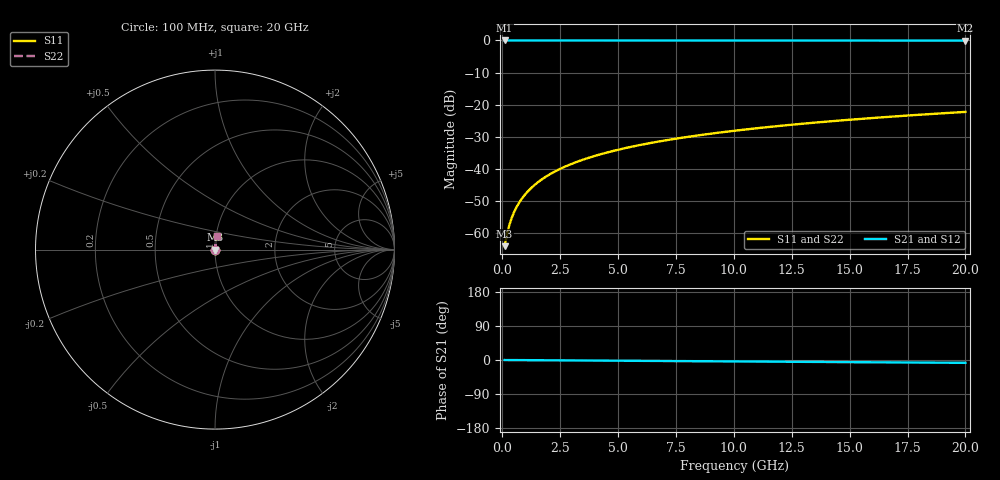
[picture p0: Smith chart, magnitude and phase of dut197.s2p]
! Touchstone file exported from HFSS 2026.1.0
!  File:  C:/ffzhzh/LocalFiles/Ansys_Project_Files/temp_train_TSV_197_1782991653_6248.aedt
!  Generated:  07:29:25 PM Jul  2, 2026
!  Design:  TSV
!  Project:  temp_train_TSV_197_1782991653_6248
! Variables:
!  h_bsmrdl = 2um
!  h_ox = 20um
!  h_rdl = 5um
!  h_sub = 54.53um
!  h_tmrdl = 5um
!  h_tsv = 54.53um
!  h_via = 3um
!  l_bsmrdl = 300um
!  l_sub = 407.5um
!  l_tmrdl = 200um
!  m_sub = 200um
!  pitch = 43.34um
!  r_tsv = 3.75um
!  s_tmrdl = 10um
!  w_bsmrdl = 18um
!  w_sub = 500um
!  w_tmrdl = 12um
!  x_tsv_center1 = 206um
!  x_tsv_center2 = 524um
!  x_tsv_center3 = 736um
!  x_tsv_center4 = 1054um
!  x_tsv_center5 = 1266um
!  x_tsv_center6 = 1584um
# GHz S MA R 50.000000
! Terminal data exported
! Port[1] = TSV1_1_T1
! Port[2] = TSV1_1_T2
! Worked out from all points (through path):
!   200 points, 100 MHz to 20 GHz, reference 50 ohm
!   highest |S21| = 0.00 dB at 100 MHz (marker M1); lowest = 0.0 dB at 20 GHz (marker M2)
!   group delay of S21, straight-line fit = 1.04 ps
!   lowest |S11| = -63.9 dB at 100 MHz (marker M3), VSWR 1.00, Z = 50 + j0.0418 ohm
!   |S11| at or under -10 dB: start of sweep to end of sweep
!   |S22| runs from -63.9 to -22.2 dB; largest |S21 - S12| = 3.4e-15
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0.1  0.0006347 41.1  0.9995 -0.0  0.9995 -0.0  0.0006347 41.1
! Gamma 0 0 0 0
! Port Impedance 50 0 50 0
0.2  0.0009628 59.6  0.9995 -0.1  0.9995 -0.1  0.0009628 59.6
0.3  0.001335 68.0  0.9995 -0.1  0.9995 -0.1  0.001335 68.0
0.4  0.00172 72.8  0.9995 -0.2  0.9995 -0.2  0.00172 72.8
0.5  0.00211 75.7  0.9995 -0.2  0.9995 -0.2  0.00211 75.7
0.6  0.002504 77.8  0.9995 -0.2  0.9995 -0.2  0.002504 77.8
0.8  0.003297 80.4  0.9995 -0.3  0.9995 -0.3  0.003297 80.4
1.1  0.004495 82.6  0.9994 -0.4  0.9994 -0.4  0.004495 82.6
1.5  0.006098 84.1  0.9994 -0.6  0.9994 -0.6  0.006098 84.1
1.8  0.007301 84.7  0.9994 -0.7  0.9994 -0.7  0.007301 84.7
2.1  0.008503 85.1  0.9993 -0.8  0.9993 -0.8  0.008503 85.1
2.7  0.0109 85.5  0.9993 -1.0  0.9993 -1.0  0.0109 85.5
3.5  0.01408 85.6  0.9992 -1.3  0.9992 -1.3  0.01408 85.6
4.2  0.01685 85.6  0.999 -1.6  0.999 -1.6  0.01685 85.6
5  0.02 85.5  0.9989 -1.9  0.9989 -1.9  0.02 85.5
5.9  0.02352 85.3  0.9987 -2.2  0.9987 -2.2  0.02352 85.3
6.8  0.02703 85.1  0.9985 -2.6  0.9985 -2.6  0.02703 85.1
8.3  0.03284 84.7  0.9982 -3.1  0.9982 -3.1  0.03284 84.7
10.1  0.03978 84.2  0.9978 -3.8  0.9978 -3.8  0.03978 84.2
13.4  0.05243 83.2  0.997 -5.0  0.997 -5.0  0.05244 83.2
16.7  0.06502 82.2  0.9961 -6.3  0.9961 -6.3  0.06502 82.2
20  0.07754 81.1  0.995 -7.5  0.995 -7.5  0.07754 81.1
